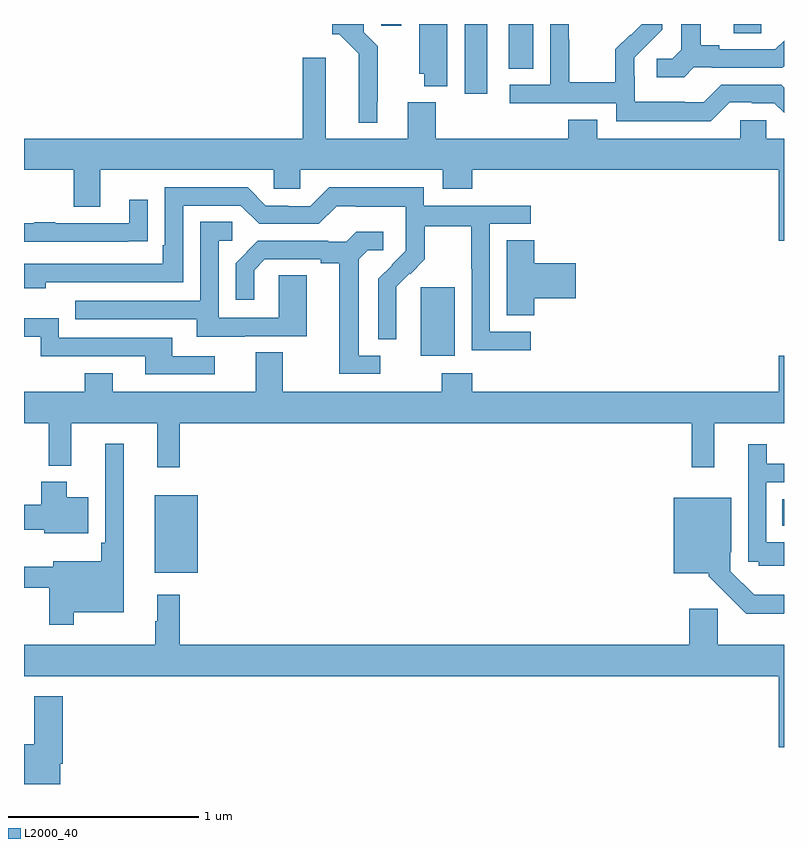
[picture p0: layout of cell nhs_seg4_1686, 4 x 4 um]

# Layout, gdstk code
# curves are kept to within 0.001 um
import gdstk
lib = gdstk.Library(unit=1e-6, precision=1e-09)
def R(c, l, rs):  # rectangles x0, y0, x1, y1
    for r in rs: c.add(gdstk.rectangle(r[:2], r[2:], *l))
def P(c, l, *ps):  # polygons
    for p in ps: c.add(gdstk.Polygon(p, *l))
L2000_40 = (2000, 40)

nhs_seg4_1686 = lib.new_cell('nhs_seg4_1686')
R(nhs_seg4_1686, L2000_40, [(197.687,816.011,197.914,816.421), (200.992,816.26,201,816.4), (199.088,817.154,199.267,817.515), (199.319,818.532,199.438,818.9), (199.55,818.665,199.681,818.9), (200.735,818.851,200.88,818.9), (198.881,818.892,198.985,818.9)])
P(nhs_seg4_1686, L2000_40, [(200.715,818.487),(200.831,818.487),(200.831,818.484),(200.949,818.484),(201,818.433),(201,818.565),(200.985,818.58),(200.67,818.58),(200.577,818.487),(200.477,818.487),(200.477,818.491),(200.214,818.491),(200.214,818.625),(200.212,818.625),(200.212,818.722),(200.358,818.87),(200.358,818.9),(200.252,818.9),(200.193,818.841),(200.19,818.844),(200.113,818.767),(200.113,818.593),(199.869,818.593),(199.869,818.816),(199.866,818.816),(199.866,818.9),(199.77,818.9),(199.77,818.58),(199.557,818.58),(199.557,818.484),(200.118,818.484),(200.118,818.387),(200.615,818.387)],
  [(198.859,818.491),(198.863,818.491),(198.863,818.782),(198.789,818.856),(198.789,818.9),(198.623,818.9),(198.623,818.846),(198.66,818.846),(198.762,818.744),(198.761,818.381),(198.859,818.381)],
  [(200.526,818.673),(200.62,818.673),(200.62,818.67),(200.992,818.67),(201,818.678),(201,818.812),(200.954,818.766),(200.659,818.766),(200.659,818.789),(200.563,818.789),(200.563,818.9),(200.459,818.9),(200.459,818.765),(200.412,818.718),(200.331,818.718),(200.331,818.621),(200.474,818.621)],
  [(199.228,818.9),(199.079,818.9),(199.079,818.637),(199.106,818.637),(199.106,818.573),(199.228,818.573)],
  [(197,818.132),(197.261,818.132),(197.261,817.938),(197.401,817.938),(197.401,818.132),(198.315,818.132),(198.315,818.034),(198.453,818.034),(198.453,818.132),(199.205,818.132),(199.205,818.033),(199.358,818.033),(199.358,818.132),(200.972,818.132),(200.972,817.758),(201,817.758),(201,818.296),(200.907,818.296),(200.907,818.394),(200.769,818.394),(200.769,818.296),(200.017,818.296),(200.017,818.395),(199.865,818.395),(199.865,818.296),(199.167,818.296),(199.167,818.488),(199.019,818.488),(199.019,818.296),(198.589,818.296),(198.589,818.722),(198.467,818.722),(198.467,818.296),(197,818.296)],
  [(199.666,817.281),(199.452,817.281),(199.452,817.848),(199.666,817.848),(199.666,817.944),(199.104,817.944),(199.104,818.041),(198.607,818.041),(198.507,817.941),(198.392,817.941),(198.392,817.944),(198.273,817.944),(198.177,818.04),(197.742,818.04),(197.742,817.735),(197.729,817.735),(197.729,817.638),(197,817.638),(197,817.508),(197.114,817.508),(197.114,817.542),(197.838,817.542),(197.838,817.944),(198.141,817.944),(198.237,817.848),(198.552,817.848),(198.645,817.941),(198.745,817.941),(198.745,817.937),(199.008,817.937),(199.008,817.803),(199.01,817.803),(199.01,817.706),(198.864,817.558),(198.864,817.24),(198.96,817.24),(198.959,817.517),(199.029,817.587),(199.032,817.584),(199.109,817.661),(199.109,817.836),(199.354,817.836),(199.354,817.612),(199.356,817.612),(199.356,817.183),(199.666,817.183)],
  [(197.549,817.756),(197.651,817.756),(197.651,817.975),(197.555,817.975),(197.555,817.851),(197.165,817.851),(197.165,817.856),(197.053,817.856),(197.053,817.851),(197,817.851),(197,817.755),(197.549,817.755)],
  [(198.163,817.257),(198.487,817.257),(198.487,817.577),(198.342,817.577),(198.342,817.353),(198.024,817.353),(198.024,817.758),(198.097,817.758),(198.097,817.859),(197.928,817.859),(197.928,817.443),(197.269,817.443),(197.269,817.347),(197.909,817.347),(197.909,817.253),(198.163,817.253)],
  [(198.874,817.155),(198.763,817.155),(198.763,817.663),(198.81,817.71),(198.892,817.71),(198.892,817.807),(198.748,817.807),(198.696,817.755),(198.602,817.755),(198.602,817.758),(198.23,817.758),(198.114,817.642),(198.114,817.449),(198.211,817.449),(198.211,817.605),(198.268,817.662),(198.563,817.662),(198.563,817.64),(198.659,817.64),(198.659,817.059),(198.874,817.059)],
  [(199.685,817.457),(199.903,817.457),(199.903,817.64),(199.685,817.64),(199.685,817.763),(199.541,817.763),(199.541,817.366),(199.685,817.366)],
  [(198.004,817.152),(197.779,817.152),(197.779,817.248),(197.184,817.248),(197.184,817.351),(197,817.351),(197,817.254),(197.088,817.254),(197.088,817.152),(197.639,817.152),(197.639,817.056),(198.004,817.056)],
  [(197,816.8),(197.131,816.8),(197.131,816.575),(197.249,816.575),(197.249,816.8),(197.702,816.8),(197.702,816.567),(197.819,816.567),(197.819,816.8),(200.515,816.8),(200.515,816.567),(200.633,816.567),(200.633,816.8),(201,816.8),(201,817.153),(200.972,817.153),(200.972,816.964),(199.358,816.964),(199.358,817.063),(199.198,817.063),(199.198,816.964),(198.361,816.964),(198.361,817.172),(198.221,817.172),(198.221,816.964),(197.467,816.964),(197.467,817.063),(197.32,817.063),(197.32,816.964),(197,816.964)],
  [(197.263,815.804),(197.524,815.804),(197.524,816.691),(197.427,816.691),(197.427,816.169),(197.407,816.169),(197.407,816.073),(197.153,816.073),(197.153,816.044),(197,816.044),(197,815.934),(197.134,815.934),(197.134,815.739),(197.263,815.739)],
  [(201,816.172),(200.907,816.172),(200.907,816.489),(201,816.489),(201,816.585),(200.908,816.585),(200.908,816.688),(200.811,816.688),(200.811,816.069),(200.868,816.069),(200.868,816.05),(201,816.05)],
  [(197.338,816.409),(197.224,816.409),(197.224,816.49),(197.09,816.49),(197.09,816.369),(197,816.369),(197,816.239),(197.106,816.239),(197.106,816.221),(197.338,816.221)],
  [(200.999,815.798),(201,815.895),(200.844,815.896),(200.718,816.021),(200.718,816.121),(200.722,816.121),(200.722,816.406),(200.42,816.406),(200.42,816.008),(200.603,816.008),(200.603,815.993),(200.8,815.796),(200.999,815.796)],
  [(201,815.632),(200.651,815.632),(200.651,815.823),(200.501,815.823),(200.501,815.632),(197.819,815.632),(197.819,815.896),(197.702,815.896),(197.702,815.756),(197.691,815.756),(197.691,815.632),(197,815.632),(197,815.468),(200.972,815.468),(200.972,815.094),(201,815.094)],
  [(197.191,815.006),(197.204,815.006),(197.204,815.362),(197.054,815.362),(197.054,815.11),(197,815.11),(197,814.9),(197.191,814.9)])

lib.write_gds('nhs_seg4_1686.gds')
